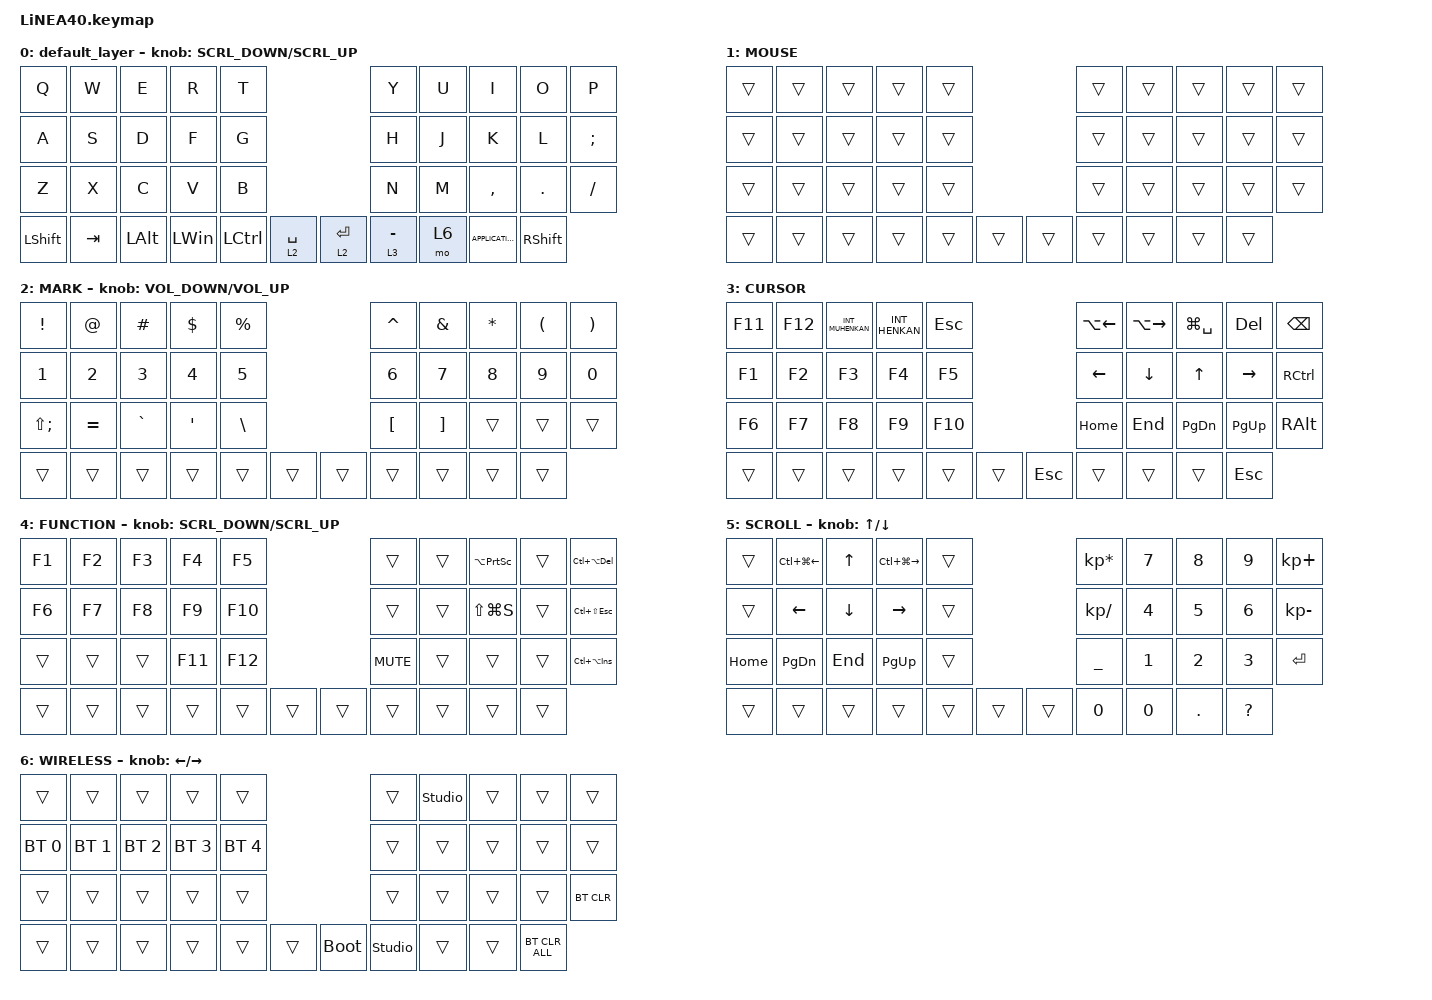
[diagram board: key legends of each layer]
#define ZMK_POINTING_DEFAULT_SCRL_VAL 10

#include <dt-bindings/zmk/input_transform.h>
#include <input/processors.dtsi>
#include <zephyr/dt-bindings/input/input-event-codes.h>
#include <behaviors.dtsi>
#include <dt-bindings/zmk/bt.h>
#include <dt-bindings/zmk/keys.h>
#include <dt-bindings/zmk/pointing.h>

#define MOUSE 1
#define MARK 2
#define CURSOR 3
#define FUNCTION 4
#define SCROLL 5
#define WIRELESS 6

//mouse cursol

&mmv {
    delay-ms = <20>;
    trigger-period-ms = <5>;
    time-to-max-speed-ms = <100>;
    acceleration-exponent = <2>;
};

//mouse scroll
//&msc {
//    delay-ms = <3>;
//    trigger-period-ms = <3>;
//    time-to-max-speed-ms = <150>;
//    acceleration-exponent = <2>;
//};
//マウススクロールを遅くするために設定変更

&msc {
    delay-ms = <10>;
    trigger-period-ms = <10>;
    time-to-max-speed-ms = <500>;
    acceleration-exponent = <0>;
};

/ {
    input_processors {
        zip_wheel_scaler: zip_wheel_scaler {
            compatible = "zmk,input-processor-scaler";
            #input-processor-cells = <2>;
            type = <INPUT_EV_REL>;
            codes = <INPUT_REL_WHEEL>;
            track-remainders;
        };
    };
};

&msc_input_listener {
    speed_up {
        layers = <FUNCTION>;
        input-processors = <&zip_wheel_scaler 1 3>; //スクロールを1/3倍速にする
    };
};

&trackball_listener {
    scroller {
        layers = <SCROLL>;
        input-processors =
            <&zip_xy_transform INPUT_TRANSFORM_Y_INVERT>,
            <&zip_wheel_scaler 1 3>,
            //スクロールを1/3倍速にする,,,,,,,
            //スクロール方向を逆転,,,,,,,,,,,,,,,,,,,,,,,
            <&zip_xy_to_scroll_mapper>;
    };
};

/ {
    combos {
        compatible = "zmk,combos";

        Escape_JK {
            bindings = <&lt 5 ESCAPE>;
            key-positions = <17 26>;
        };

        RightClick {
            bindings = <&mkp MB2>;
            key-positions = <17 18>;
        };

        PrevClick {
            bindings = <&mkp MB4>;
            key-positions = <27 26>;
        };

        ClickNext {
            bindings = <&mkp MB5>;
            key-positions = <27 28>;
        };

        LeftClick {
            bindings = <&mkp MB1>;
            key-positions = <17 16>;
        };

        Escape_FD {
            bindings = <&lt 5 ESCAPE>;
            key-positions = <12 23>;
        };
    };

    behaviors {
        re_kp: sensor_rotate_kp {
            compatible = "zmk,behavior-sensor-rotate-var";
            #sensor-binding-cells = <2>;
            bindings = <&kp>, <&kp>;
        };

        mouse_scrl: mouse_wheel_scrl {
            compatible = "zmk,behavior-sensor-rotate-var";
            #sensor-binding-cells = <2>;
            bindings = <&msc>, <&msc>;

            tap-ms = <20>;
        };
    };

    keymap {
        compatible = "zmk,keymap";

        default_layer {
            bindings = <
&kp Q           &kp W    &kp E         &kp R         &kp T                                         &kp Y        &kp U  &kp I      &kp O              &kp P
&kp A           &kp S    &kp D         &kp F         &kp G                                         &kp H        &kp J  &kp K      &kp L              &kp SEMICOLON
&kp Z           &kp X    &kp C         &kp V         &kp B                                         &kp N        &kp M  &kp COMMA  &kp DOT            &kp SLASH
&kp LEFT_SHIFT  &kp TAB  &kp LEFT_ALT  &kp LEFT_WIN  &kp LEFT_CONTROL  &lt 2 SPACE    &lt 2 ENTER  &lt 3 MINUS         &mo 6      &kp K_APPLICATION  &kp RIGHT_SHIFT
            >;

            sensor-bindings = <&mouse_scrl SCRL_DOWN SCRL_UP>;
        };

        //1

        MOUSE {
            bindings = <
&trans  &trans  &trans  &trans  &trans                    &trans  &trans  &trans  &trans  &trans
&trans  &trans  &trans  &trans  &trans                    &trans  &trans  &trans  &trans  &trans
&trans  &trans  &trans  &trans  &trans                    &trans  &trans  &trans  &trans  &trans
&trans  &trans  &trans  &trans  &trans  &trans    &trans  &trans          &trans  &trans  &trans
            >;
        };

        //2

        MARK {
            bindings = <
&kp EXCLAMATION    &kp AT        &kp HASH      &kp DOLLAR    &kp PERCENT                      &kp CARET         &kp AMPERSAND      &kp ASTERISK  &kp LEFT_PARENTHESIS  &kp RIGHT_PARENTHESIS
&kp NUMBER_1       &kp NUMBER_2  &kp NUMBER_3  &kp NUMBER_4  &kp N5                           &kp NUMBER_6      &kp N7             &kp NUMBER_8  &kp NUMBER_9          &kp NUMBER_0
&kp LS(SEMICOLON)  &kp EQUAL     &kp GRAVE     &kp APOS      &kp BACKSLASH                    &kp LEFT_BRACKET  &kp RIGHT_BRACKET  &trans        &trans                &trans
&trans             &trans        &trans        &trans        &trans         &trans    &trans  &trans                               &trans        &trans                &trans
            >;

            sensor-bindings = <&re_kp C_VOLUME_DOWN C_VOLUME_UP>;
        };

        //3

        CURSOR {
            bindings = <
&kp F11  &kp F12  &kp INT_MUHENKAN  &kp INT_HENKAN  &kp ESC                     &kp LA(LEFT)  &kp LA(RIGHT)  &kp LG(SPACE)  &kp DELETE   &kp BACKSPACE
&kp F1   &kp F2   &kp F3            &kp F4          &kp F5                      &kp LEFT      &kp DOWN       &kp UP_ARROW   &kp RIGHT    &kp RIGHT_CONTROL
&kp F6   &kp F7   &kp F8            &kp F9          &kp F10                     &kp HOME      &kp END        &kp PAGE_DOWN  &kp PAGE_UP  &kp RIGHT_ALT
&trans   &trans   &trans            &trans          &trans   &trans    &kp ESC  &trans                       &trans         &trans       &kp ESC
            >;
        };

        //4

        FUNCTION {
            bindings = <
&kp F1  &kp F2  &kp F3  &kp F4   &kp F5                     &trans      &trans  &kp LA(PRINTSCREEN)  &trans  &kp LC(LA(DELETE))
&kp F6  &kp F7  &kp F8  &kp F9   &kp F10                    &trans      &trans  &kp LS(LG(S))        &trans  &kp LC(LS(ESCAPE))
&trans  &trans  &trans  &kp F11  &kp F12                    &kp C_MUTE  &trans  &trans               &trans  &kp LC(LA(INS))
&trans  &trans  &trans  &trans   &trans   &trans    &trans  &trans              &trans               &trans  &trans
            >;

            sensor-bindings = <&mouse_scrl SCRL_DOWN SCRL_UP>;
        };

        //5

        SCROLL {
            bindings = <
&trans    &kp LC(LG(LEFT_ARROW))  &kp UP_ARROW  &kp LC(LG(RIGHT_ARROW))  &trans                    &kp KP_MULTIPLY  &kp NUMBER_7  &kp NUMBER_8  &kp NUMBER_9  &kp KP_PLUS
&trans    &kp LEFT_ARROW          &kp DOWN      &kp RIGHT_ARROW          &trans                    &kp KP_SLASH     &kp NUMBER_4  &kp NUMBER_5  &kp NUMBER_6  &kp KP_MINUS
&kp HOME  &kp PAGE_DOWN           &kp END       &kp PAGE_UP              &trans                    &kp UNDER        &kp NUMBER_1  &kp NUMBER_2  &kp NUMBER_3  &kp ENTER
&trans    &trans                  &trans        &trans                   &trans  &trans    &trans  &kp NUMBER_0                   &kp NUMBER_0  &kp DOT       &kp QUESTION
            >;

            sensor-bindings = <&inc_dec_kp UP_ARROW DOWN_ARROW>;
        };

        //6

        WIRELESS {
            bindings = <
&trans        &trans        &trans        &trans        &trans                               &trans          &studio_unlock  &trans  &trans  &trans
&bt BT_SEL 0  &bt BT_SEL 1  &bt BT_SEL 2  &bt BT_SEL 3  &bt BT_SEL 4                         &trans          &trans          &trans  &trans  &trans
&trans        &trans        &trans        &trans        &trans                               &trans          &trans          &trans  &trans  &bt BT_CLR
&trans        &trans        &trans        &trans        &trans        &trans    &bootloader  &studio_unlock                  &trans  &trans  &bt BT_CLR_ALL
            >;

            sensor-bindings = <&inc_dec_kp LEFT_ARROW RIGHT_ARROW>;
        };
    };
};
